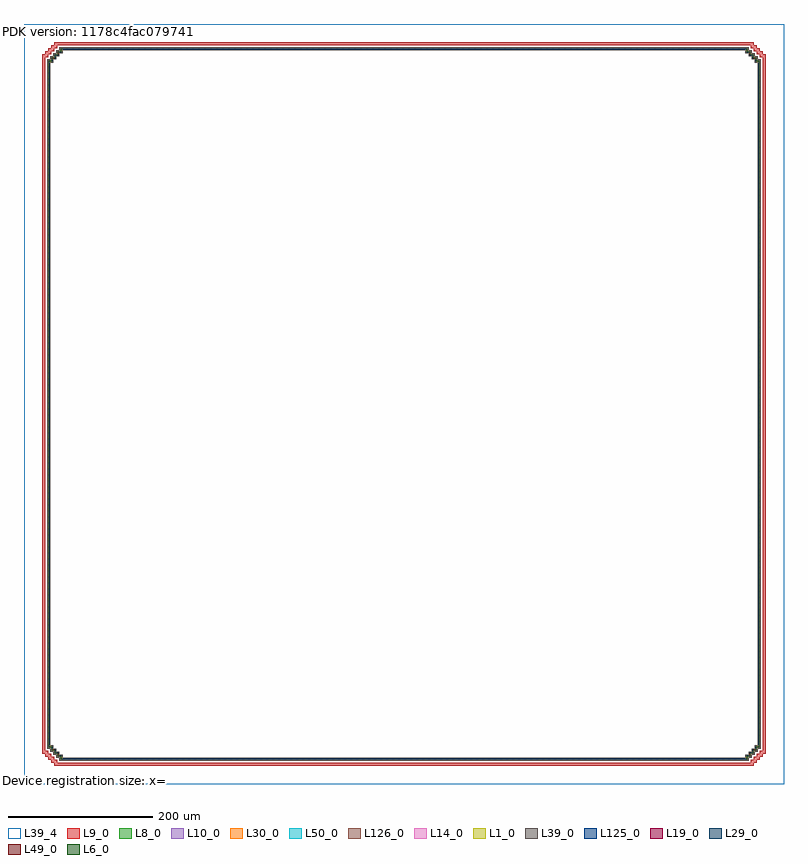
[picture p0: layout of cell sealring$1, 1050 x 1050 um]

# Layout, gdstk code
import gdstk
lib = gdstk.Library(unit=1e-6, precision=1e-09)
def R(c, l, rs):  # rectangles x0, y0, x1, y1
    for r in rs: c.add(gdstk.rectangle(r[:2], r[2:], *l))
def P(c, l, *ps):  # polygons
    for p in ps: c.add(gdstk.Polygon(p, *l))
L1_0 = (1, 0)
L6_0 = (6, 0)
L8_0 = (8, 0)
L9_0 = (9, 0)
L10_0 = (10, 0)
L14_0 = (14, 0)
L19_0 = (19, 0)
L29_0 = (29, 0)
L30_0 = (30, 0)
L39_0 = (39, 0)
L39_4 = (39, 4)
L49_0 = (49, 0)
L50_0 = (50, 0)
L125_0 = (125, 0)
L126_0 = (126, 0)

sealring_1 = lib.new_cell('sealring$1')
R(sealring_1, L1_0, [(49,32.2,53.2,40.6), (53.2,32.2,996.8,36.4), (996.8,32.2,1001,36.4), (44.8,36.4,49,44.8), (996.8,36.4,1005.2,40.6), (40.6,40.6,44.8,49), (1001,40.6,1009.4,44.8), (36.4,44.8,40.6,53.2), (1005.2,44.8,1013.6,49), (32.2,49,36.4,53.2), (1009.4,49,1017.8,53.2), (32.2,53.2,36.4,996.8), (1013.6,53.2,1017.8,996.8), (32.2,996.8,40.6,1001), (1009.4,996.8,1013.6,1005.2), (1013.6,996.8,1017.8,1001), (36.4,1001,44.8,1005.2), (1005.2,1001,1009.4,1009.4), (40.6,1005.2,49,1009.4), (1001,1005.2,1005.2,1013.6), (44.8,1009.4,53.2,1013.6), (996.8,1009.4,1001,1017.8), (49,1013.6,53.2,1017.8), (53.2,1013.6,996.8,1017.8)])
R(sealring_1, L6_0, [(53.2,34.2,996.8,34.36), (34.2,53.2,34.36,996.8), (1015.64,53.2,1015.8,996.8), (53.2,1015.64,996.8,1015.8)])
P(sealring_1, L6_0, [(1015.64,996.8),(1015.64,998.84),(1011.44,998.84),(1011.44,1003.04),(1007.24,1003.04),(1007.24,1007.24),(1003.04,1007.24),(1003.04,1011.44),(998.84,1011.44),(998.84,1015.64),(996.8,1015.64),(996.8,1015.8),(999,1015.8),(999,1011.6),(1003.2,1011.6),(1003.2,1007.4),(1007.4,1007.4),(1007.4,1003.2),(1011.6,1003.2),(1011.6,999),(1015.8,999),(1015.8,996.8)],
  [(51,34.2),(51,38.4),(46.8,38.4),(46.8,42.6),(42.6,42.6),(42.6,46.8),(38.4,46.8),(38.4,51),(34.2,51),(34.2,53.2),(34.36,53.2),(34.36,51.16),(38.56,51.16),(38.56,46.96),(42.76,46.96),(42.76,42.76),(46.96,42.76),(46.96,38.56),(51.16,38.56),(51.16,34.36),(53.2,34.36),(53.2,34.2)],
  [(996.8,34.2),(996.8,34.36),(998.84,34.36),(998.84,38.56),(1003.04,38.56),(1003.04,42.76),(1007.24,42.76),(1007.24,46.96),(1011.44,46.96),(1011.44,51.16),(1015.64,51.16),(1015.64,53.2),(1015.8,53.2),(1015.8,51),(1011.6,51),(1011.6,46.8),(1007.4,46.8),(1007.4,42.6),(1003.2,42.6),(1003.2,38.4),(999,38.4),(999,34.2)],
  [(34.2,996.8),(34.2,999),(38.4,999),(38.4,1003.2),(42.6,1003.2),(42.6,1007.4),(46.8,1007.4),(46.8,1011.6),(51,1011.6),(51,1015.8),(53.2,1015.8),(53.2,1015.64),(51.16,1015.64),(51.16,1011.44),(46.96,1011.44),(46.96,1007.24),(42.76,1007.24),(42.76,1003.04),(38.56,1003.04),(38.56,998.84),(34.36,998.84),(34.36,996.8)])
R(sealring_1, L8_0, [(49,32.2,53.2,40.6), (53.2,32.2,996.8,36.4), (996.8,32.2,1001,36.4), (44.8,36.4,49,44.8), (996.8,36.4,1005.2,40.6), (40.6,40.6,44.8,49), (1001,40.6,1009.4,44.8), (36.4,44.8,40.6,53.2), (1005.2,44.8,1013.6,49), (32.2,49,36.4,53.2), (1009.4,49,1017.8,53.2), (32.2,53.2,36.4,996.8), (1013.6,53.2,1017.8,996.8), (32.2,996.8,40.6,1001), (1009.4,996.8,1013.6,1005.2), (1013.6,996.8,1017.8,1001), (36.4,1001,44.8,1005.2), (1005.2,1001,1009.4,1009.4), (40.6,1005.2,49,1009.4), (1001,1005.2,1005.2,1013.6), (44.8,1009.4,53.2,1013.6), (996.8,1009.4,1001,1017.8), (49,1013.6,53.2,1017.8), (53.2,1013.6,996.8,1017.8)])
R(sealring_1, L9_0, [(53.2,25,996.8,29.2), (25,53.2,29.2,996.8), (1020.8,53.2,1025,996.8), (53.2,1020.8,996.8,1025)])
P(sealring_1, L9_0, [(41.8,25),(41.8,29.2),(37.6,29.2),(37.6,33.4),(33.4,33.4),(33.4,37.6),(29.2,37.6),(29.2,41.8),(25,41.8),(25,53.2),(29.2,53.2),(29.2,46),(33.4,46),(33.4,41.8),(37.6,41.8),(37.6,37.6),(41.8,37.6),(41.8,33.4),(46,33.4),(46,29.2),(78.2,29.2),(78.2,25)],
  [(1020.8,996.8),(1020.8,1004),(1016.6,1004),(1016.6,1008.2),(1012.4,1008.2),(1012.4,1012.4),(1008.2,1012.4),(1008.2,1016.6),(1004,1016.6),(1004,1020.8),(971.8,1020.8),(971.8,1025),(1008.2,1025),(1008.2,1020.8),(1012.4,1020.8),(1012.4,1016.6),(1016.6,1016.6),(1016.6,1012.4),(1020.8,1012.4),(1020.8,1008.2),(1025,1008.2),(1025,996.8)],
  [(996.8,25),(996.8,29.2),(1004,29.2),(1004,33.4),(1008.2,33.4),(1008.2,37.6),(1012.4,37.6),(1012.4,41.8),(1016.6,41.8),(1016.6,46),(1020.8,46),(1020.8,78.2),(1025,78.2),(1025,41.8),(1020.8,41.8),(1020.8,37.6),(1016.6,37.6),(1016.6,33.4),(1012.4,33.4),(1012.4,29.2),(1008.2,29.2),(1008.2,25)],
  [(25,971.8),(25,1008.2),(29.2,1008.2),(29.2,1012.4),(33.4,1012.4),(33.4,1016.6),(37.6,1016.6),(37.6,1020.8),(41.8,1020.8),(41.8,1025),(53.2,1025),(53.2,1020.8),(46,1020.8),(46,1016.6),(41.8,1016.6),(41.8,1012.4),(37.6,1012.4),(37.6,1008.2),(33.4,1008.2),(33.4,1004),(29.2,1004),(29.2,971.8)])
R(sealring_1, L10_0, [(49,32.2,53.2,40.6), (53.2,32.2,996.8,36.4), (996.8,32.2,1001,36.4), (44.8,36.4,49,44.8), (996.8,36.4,1005.2,40.6), (40.6,40.6,44.8,49), (1001,40.6,1009.4,44.8), (36.4,44.8,40.6,53.2), (1005.2,44.8,1013.6,49), (32.2,49,36.4,53.2), (1009.4,49,1017.8,53.2), (32.2,53.2,36.4,996.8), (1013.6,53.2,1017.8,996.8), (32.2,996.8,40.6,1001), (1009.4,996.8,1013.6,1005.2), (1013.6,996.8,1017.8,1001), (36.4,1001,44.8,1005.2), (1005.2,1001,1009.4,1009.4), (40.6,1005.2,49,1009.4), (1001,1005.2,1005.2,1013.6), (44.8,1009.4,53.2,1013.6), (996.8,1009.4,1001,1017.8), (49,1013.6,53.2,1017.8), (53.2,1013.6,996.8,1017.8)])
R(sealring_1, L14_0, [(49,32.2,53.2,40.6), (53.2,32.2,996.8,36.4), (996.8,32.2,1001,36.4), (44.8,36.4,49,44.8), (996.8,36.4,1005.2,40.6), (40.6,40.6,44.8,49), (1001,40.6,1009.4,44.8), (36.4,44.8,40.6,53.2), (1005.2,44.8,1013.6,49), (32.2,49,36.4,53.2), (1009.4,49,1017.8,53.2), (32.2,53.2,36.4,996.8), (1013.6,53.2,1017.8,996.8), (32.2,996.8,40.6,1001), (1009.4,996.8,1013.6,1005.2), (1013.6,996.8,1017.8,1001), (36.4,1001,44.8,1005.2), (1005.2,1001,1009.4,1009.4), (40.6,1005.2,49,1009.4), (1001,1005.2,1005.2,1013.6), (44.8,1009.4,53.2,1013.6), (996.8,1009.4,1001,1017.8), (49,1013.6,53.2,1017.8), (53.2,1013.6,996.8,1017.8)])
R(sealring_1, L19_0, [(53.2,34.2,996.8,34.39), (34.2,53.2,34.39,996.8), (1015.61,53.2,1015.8,996.8), (53.2,1015.61,996.8,1015.8)])
P(sealring_1, L19_0, [(1015.61,996.8),(1015.61,998.81),(1011.41,998.81),(1011.41,1003.01),(1007.21,1003.01),(1007.21,1007.21),(1003.01,1007.21),(1003.01,1011.41),(998.81,1011.41),(998.81,1015.61),(996.8,1015.61),(996.8,1015.8),(999,1015.8),(999,1011.6),(1003.2,1011.6),(1003.2,1007.4),(1007.4,1007.4),(1007.4,1003.2),(1011.6,1003.2),(1011.6,999),(1015.8,999),(1015.8,996.8)],
  [(51,34.2),(51,38.4),(46.8,38.4),(46.8,42.6),(42.6,42.6),(42.6,46.8),(38.4,46.8),(38.4,51),(34.2,51),(34.2,53.2),(34.39,53.2),(34.39,51.19),(38.59,51.19),(38.59,46.99),(42.79,46.99),(42.79,42.79),(46.99,42.79),(46.99,38.59),(51.19,38.59),(51.19,34.39),(53.2,34.39),(53.2,34.2)],
  [(996.8,34.2),(996.8,34.39),(998.81,34.39),(998.81,38.59),(1003.01,38.59),(1003.01,42.79),(1007.21,42.79),(1007.21,46.99),(1011.41,46.99),(1011.41,51.19),(1015.61,51.19),(1015.61,53.2),(1015.8,53.2),(1015.8,51),(1011.6,51),(1011.6,46.8),(1007.4,46.8),(1007.4,42.6),(1003.2,42.6),(1003.2,38.4),(999,38.4),(999,34.2)],
  [(34.2,996.8),(34.2,999),(38.4,999),(38.4,1003.2),(42.6,1003.2),(42.6,1007.4),(46.8,1007.4),(46.8,1011.6),(51,1011.6),(51,1015.8),(53.2,1015.8),(53.2,1015.61),(51.19,1015.61),(51.19,1011.41),(46.99,1011.41),(46.99,1007.21),(42.79,1007.21),(42.79,1003.01),(38.59,1003.01),(38.59,998.81),(34.39,998.81),(34.39,996.8)])
R(sealring_1, L29_0, [(53.2,34.2,996.8,34.39), (34.2,53.2,34.39,996.8), (1015.61,53.2,1015.8,996.8), (53.2,1015.61,996.8,1015.8)])
P(sealring_1, L29_0, [(1015.61,996.8),(1015.61,998.81),(1011.41,998.81),(1011.41,1003.01),(1007.21,1003.01),(1007.21,1007.21),(1003.01,1007.21),(1003.01,1011.41),(998.81,1011.41),(998.81,1015.61),(996.8,1015.61),(996.8,1015.8),(999,1015.8),(999,1011.6),(1003.2,1011.6),(1003.2,1007.4),(1007.4,1007.4),(1007.4,1003.2),(1011.6,1003.2),(1011.6,999),(1015.8,999),(1015.8,996.8)],
  [(51,34.2),(51,38.4),(46.8,38.4),(46.8,42.6),(42.6,42.6),(42.6,46.8),(38.4,46.8),(38.4,51),(34.2,51),(34.2,53.2),(34.39,53.2),(34.39,51.19),(38.59,51.19),(38.59,46.99),(42.79,46.99),(42.79,42.79),(46.99,42.79),(46.99,38.59),(51.19,38.59),(51.19,34.39),(53.2,34.39),(53.2,34.2)],
  [(996.8,34.2),(996.8,34.39),(998.81,34.39),(998.81,38.59),(1003.01,38.59),(1003.01,42.79),(1007.21,42.79),(1007.21,46.99),(1011.41,46.99),(1011.41,51.19),(1015.61,51.19),(1015.61,53.2),(1015.8,53.2),(1015.8,51),(1011.6,51),(1011.6,46.8),(1007.4,46.8),(1007.4,42.6),(1003.2,42.6),(1003.2,38.4),(999,38.4),(999,34.2)],
  [(34.2,996.8),(34.2,999),(38.4,999),(38.4,1003.2),(42.6,1003.2),(42.6,1007.4),(46.8,1007.4),(46.8,1011.6),(51,1011.6),(51,1015.8),(53.2,1015.8),(53.2,1015.61),(51.19,1015.61),(51.19,1011.41),(46.99,1011.41),(46.99,1007.21),(42.79,1007.21),(42.79,1003.01),(38.59,1003.01),(38.59,998.81),(34.39,998.81),(34.39,996.8)])
R(sealring_1, L30_0, [(49,32.2,53.2,40.6), (53.2,32.2,996.8,36.4), (996.8,32.2,1001,36.4), (44.8,36.4,49,44.8), (996.8,36.4,1005.2,40.6), (40.6,40.6,44.8,49), (1001,40.6,1009.4,44.8), (36.4,44.8,40.6,53.2), (1005.2,44.8,1013.6,49), (32.2,49,36.4,53.2), (1009.4,49,1017.8,53.2), (32.2,53.2,36.4,996.8), (1013.6,53.2,1017.8,996.8), (32.2,996.8,40.6,1001), (1009.4,996.8,1013.6,1005.2), (1013.6,996.8,1017.8,1001), (36.4,1001,44.8,1005.2), (1005.2,1001,1009.4,1009.4), (40.6,1005.2,49,1009.4), (1001,1005.2,1005.2,1013.6), (44.8,1009.4,53.2,1013.6), (996.8,1009.4,1001,1017.8), (49,1013.6,53.2,1017.8), (53.2,1013.6,996.8,1017.8)])
R(sealring_1, L39_0, [(49,32.2,53.2,40.6), (53.2,32.2,996.8,36.4), (996.8,32.2,1001,36.4), (44.8,36.4,49,44.8), (996.8,36.4,1005.2,40.6), (40.6,40.6,44.8,49), (1001,40.6,1009.4,44.8), (36.4,44.8,40.6,53.2), (1005.2,44.8,1013.6,49), (32.2,49,36.4,53.2), (1009.4,49,1017.8,53.2), (32.2,53.2,36.4,996.8), (1013.6,53.2,1017.8,996.8), (32.2,996.8,40.6,1001), (1009.4,996.8,1013.6,1005.2), (1013.6,996.8,1017.8,1001), (36.4,1001,44.8,1005.2), (1005.2,1001,1009.4,1009.4), (40.6,1005.2,49,1009.4), (1001,1005.2,1005.2,1013.6), (44.8,1009.4,53.2,1013.6), (996.8,1009.4,1001,1017.8), (49,1013.6,53.2,1017.8), (53.2,1013.6,996.8,1017.8)])
R(sealring_1, L39_4, [(0,0,1050,1050)])
R(sealring_1, L49_0, [(53.2,34.2,996.8,34.39), (34.2,53.2,34.39,996.8), (1015.61,53.2,1015.8,996.8), (53.2,1015.61,996.8,1015.8)])
P(sealring_1, L49_0, [(1015.61,996.8),(1015.61,998.81),(1011.41,998.81),(1011.41,1003.01),(1007.21,1003.01),(1007.21,1007.21),(1003.01,1007.21),(1003.01,1011.41),(998.81,1011.41),(998.81,1015.61),(996.8,1015.61),(996.8,1015.8),(999,1015.8),(999,1011.6),(1003.2,1011.6),(1003.2,1007.4),(1007.4,1007.4),(1007.4,1003.2),(1011.6,1003.2),(1011.6,999),(1015.8,999),(1015.8,996.8)],
  [(51,34.2),(51,38.4),(46.8,38.4),(46.8,42.6),(42.6,42.6),(42.6,46.8),(38.4,46.8),(38.4,51),(34.2,51),(34.2,53.2),(34.39,53.2),(34.39,51.19),(38.59,51.19),(38.59,46.99),(42.79,46.99),(42.79,42.79),(46.99,42.79),(46.99,38.59),(51.19,38.59),(51.19,34.39),(53.2,34.39),(53.2,34.2)],
  [(996.8,34.2),(996.8,34.39),(998.81,34.39),(998.81,38.59),(1003.01,38.59),(1003.01,42.79),(1007.21,42.79),(1007.21,46.99),(1011.41,46.99),(1011.41,51.19),(1015.61,51.19),(1015.61,53.2),(1015.8,53.2),(1015.8,51),(1011.6,51),(1011.6,46.8),(1007.4,46.8),(1007.4,42.6),(1003.2,42.6),(1003.2,38.4),(999,38.4),(999,34.2)],
  [(34.2,996.8),(34.2,999),(38.4,999),(38.4,1003.2),(42.6,1003.2),(42.6,1007.4),(46.8,1007.4),(46.8,1011.6),(51,1011.6),(51,1015.8),(53.2,1015.8),(53.2,1015.61),(51.19,1015.61),(51.19,1011.41),(46.99,1011.41),(46.99,1007.21),(42.79,1007.21),(42.79,1003.01),(38.59,1003.01),(38.59,998.81),(34.39,998.81),(34.39,996.8)])
R(sealring_1, L50_0, [(49,32.2,53.2,40.6), (53.2,32.2,996.8,36.4), (996.8,32.2,1001,36.4), (44.8,36.4,49,44.8), (996.8,36.4,1005.2,40.6), (40.6,40.6,44.8,49), (1001,40.6,1009.4,44.8), (36.4,44.8,40.6,53.2), (1005.2,44.8,1013.6,49), (32.2,49,36.4,53.2), (1009.4,49,1017.8,53.2), (32.2,53.2,36.4,996.8), (1013.6,53.2,1017.8,996.8), (32.2,996.8,40.6,1001), (1009.4,996.8,1013.6,1005.2), (1013.6,996.8,1017.8,1001), (36.4,1001,44.8,1005.2), (1005.2,1001,1009.4,1009.4), (40.6,1005.2,49,1009.4), (1001,1005.2,1005.2,1013.6), (44.8,1009.4,53.2,1013.6), (996.8,1009.4,1001,1017.8), (49,1013.6,53.2,1017.8), (53.2,1013.6,996.8,1017.8)])
R(sealring_1, L125_0, [(53.2,34.2,996.8,34.62), (34.2,53.2,34.62,996.8), (1015.38,53.2,1015.8,996.8), (53.2,1015.38,996.8,1015.8)])
P(sealring_1, L125_0, [(1015.38,996.8),(1015.38,998.58),(1011.18,998.58),(1011.18,1002.78),(1006.98,1002.78),(1006.98,1006.98),(1002.78,1006.98),(1002.78,1011.18),(998.58,1011.18),(998.58,1015.38),(996.8,1015.38),(996.8,1015.8),(999,1015.8),(999,1011.6),(1003.2,1011.6),(1003.2,1007.4),(1007.4,1007.4),(1007.4,1003.2),(1011.6,1003.2),(1011.6,999),(1015.8,999),(1015.8,996.8)],
  [(51,34.2),(51,38.4),(46.8,38.4),(46.8,42.6),(42.6,42.6),(42.6,46.8),(38.4,46.8),(38.4,51),(34.2,51),(34.2,53.2),(34.62,53.2),(34.62,51.42),(38.82,51.42),(38.82,47.22),(43.02,47.22),(43.02,43.02),(47.22,43.02),(47.22,38.82),(51.42,38.82),(51.42,34.62),(53.2,34.62),(53.2,34.2)],
  [(996.8,34.2),(996.8,34.62),(998.58,34.62),(998.58,38.82),(1002.78,38.82),(1002.78,43.02),(1006.98,43.02),(1006.98,47.22),(1011.18,47.22),(1011.18,51.42),(1015.38,51.42),(1015.38,53.2),(1015.8,53.2),(1015.8,51),(1011.6,51),(1011.6,46.8),(1007.4,46.8),(1007.4,42.6),(1003.2,42.6),(1003.2,38.4),(999,38.4),(999,34.2)],
  [(34.2,996.8),(34.2,999),(38.4,999),(38.4,1003.2),(42.6,1003.2),(42.6,1007.4),(46.8,1007.4),(46.8,1011.6),(51,1011.6),(51,1015.8),(53.2,1015.8),(53.2,1015.38),(51.42,1015.38),(51.42,1011.18),(47.22,1011.18),(47.22,1006.98),(43.02,1006.98),(43.02,1002.78),(38.82,1002.78),(38.82,998.58),(34.62,998.58),(34.62,996.8)])
R(sealring_1, L126_0, [(49,32.2,53.2,40.6), (53.2,32.2,996.8,36.4), (996.8,32.2,1001,36.4), (44.8,36.4,49,44.8), (996.8,36.4,1005.2,40.6), (40.6,40.6,44.8,49), (1001,40.6,1009.4,44.8), (36.4,44.8,40.6,53.2), (1005.2,44.8,1013.6,49), (32.2,49,36.4,53.2), (1009.4,49,1017.8,53.2), (32.2,53.2,36.4,996.8), (1013.6,53.2,1017.8,996.8), (32.2,996.8,40.6,1001), (1009.4,996.8,1013.6,1005.2), (1013.6,996.8,1017.8,1001), (36.4,1001,44.8,1005.2), (1005.2,1001,1009.4,1009.4), (40.6,1005.2,49,1009.4), (1001,1005.2,1005.2,1013.6), (44.8,1009.4,53.2,1013.6), (996.8,1009.4,1001,1017.8), (49,1013.6,53.2,1017.8), (53.2,1013.6,996.8,1017.8)])
sealring_1.add(gdstk.Label('Device registration size: x=1050.0 um ; y=1050.0 um\nCalculated area: 1.1e-06 sq mm', (5,5), layer=63, texttype=0))
sealring_1.add(gdstk.Label('PDK version: 1178c4fac07974139cb991e54ccf38adf86be30c', (5,1040), layer=63, texttype=0))

lib.write_gds('sealring_1.gds')
